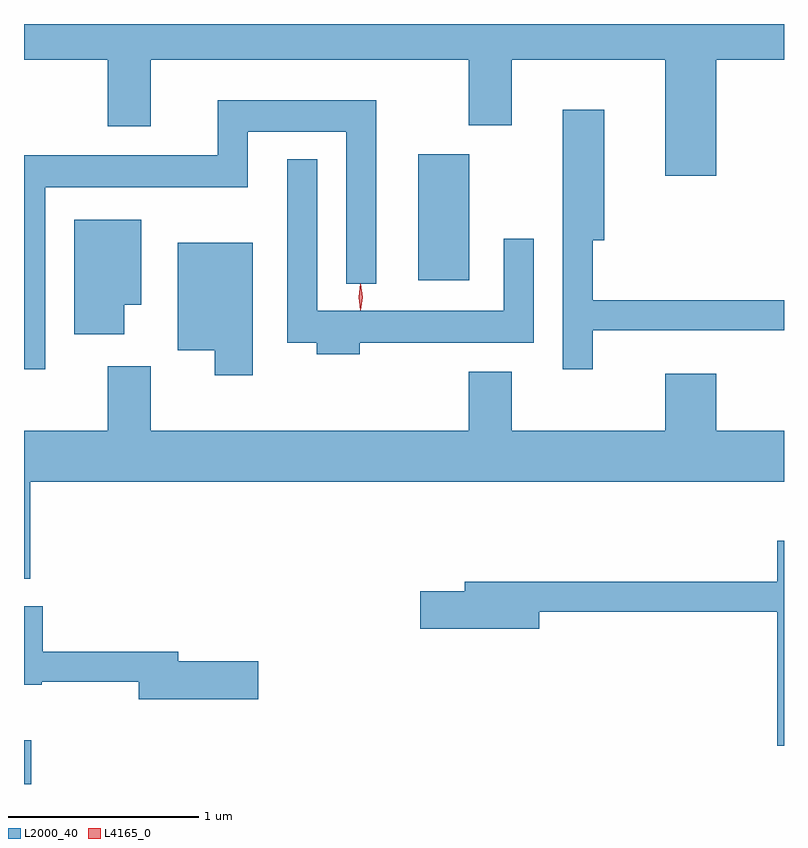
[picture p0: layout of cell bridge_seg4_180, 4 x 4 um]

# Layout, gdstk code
import gdstk
lib = gdstk.Library(unit=1e-6, precision=1e-09)
def R(c, l, rs):  # rectangles x0, y0, x1, y1
    for r in rs: c.add(gdstk.rectangle(r[:2], r[2:], *l))
def P(c, l, *ps):  # polygons
    for p in ps: c.add(gdstk.Polygon(p, *l))
L2000_40 = (2000, 40)
L4165_0 = (4165, 0)

bridge_seg4_180 = lib.new_cell('bridge_seg4_180')
R(bridge_seg4_180, L2000_40, [(1050.861,1302.024,1050.899,1302.253), (1052.936,1304.676,1053.204,1305.339)])
P(bridge_seg4_180, L2000_40, [(1054.504,1305.836),(1054.861,1305.836),(1054.861,1306.024),(1050.861,1306.024),(1050.861,1305.836),(1051.301,1305.836),(1051.301,1305.486),(1051.529,1305.486),(1051.529,1305.836),(1053.201,1305.836),(1053.201,1305.491),(1053.429,1305.491),(1053.429,1305.836),(1054.236,1305.836),(1054.236,1305.226),(1054.504,1305.226)],
  [(1050.974,1305.166),(1052.039,1305.166),(1052.039,1305.456),(1052.556,1305.456),(1052.556,1304.658),(1052.714,1304.658),(1052.714,1305.624),(1051.881,1305.624),(1051.881,1305.334),(1050.861,1305.334),(1050.861,1304.208),(1050.974,1304.208)],
  [(1053.854,1304.411),(1054.861,1304.411),(1054.861,1304.569),(1053.854,1304.569),(1053.854,1304.886),(1053.914,1304.886),(1053.914,1305.574),(1053.696,1305.574),(1053.696,1304.208),(1053.854,1304.208)],
  [(1052.629,1304.346),(1053.544,1304.346),(1053.544,1304.893),(1053.386,1304.893),(1053.386,1304.514),(1052.404,1304.514),(1052.404,1305.313),(1052.246,1305.313),(1052.246,1304.346),(1052.401,1304.346),(1052.401,1304.286),(1052.629,1304.286)],
  [(1051.389,1304.546),(1051.479,1304.546),(1051.479,1304.994),(1051.126,1304.994),(1051.126,1304.391),(1051.389,1304.391)],
  [(1052.064,1304.874),(1051.671,1304.874),(1051.671,1304.306),(1051.866,1304.306),(1051.866,1304.176),(1052.064,1304.176)],
  [(1050.894,1303.616),(1054.861,1303.616),(1054.861,1303.884),(1054.504,1303.884),(1054.504,1304.184),(1054.236,1304.184),(1054.236,1303.884),(1053.429,1303.884),(1053.429,1304.194),(1053.201,1304.194),(1053.201,1303.884),(1051.529,1303.884),(1051.529,1304.224),(1051.301,1304.224),(1051.301,1303.884),(1050.861,1303.884),(1050.861,1303.103),(1050.894,1303.103)],
  [(1054.861,1303.304),(1054.826,1303.304),(1054.826,1303.089),(1053.181,1303.089),(1053.181,1303.039),(1052.946,1303.039),(1052.946,1302.841),(1053.574,1302.841),(1053.574,1302.931),(1054.826,1302.931),(1054.826,1302.226),(1054.861,1302.226)],
  [(1052.094,1302.669),(1051.674,1302.669),(1051.674,1302.719),(1050.959,1302.719),(1050.959,1302.959),(1050.861,1302.959),(1050.861,1302.546),(1050.955,1302.546),(1050.955,1302.561),(1051.466,1302.561),(1051.466,1302.471),(1052.094,1302.471)])
P(bridge_seg4_180, L4165_0, [(1052.632,1304.52),(1052.623,1304.586),(1052.632,1304.653),(1052.633,1304.653),(1052.633,1304.653),(1052.643,1304.586),(1052.633,1304.52),(1052.633,1304.52)],
  [(1052.632,1304.517),(1052.623,1304.587),(1052.632,1304.656),(1052.633,1304.656),(1052.633,1304.656),(1052.643,1304.587),(1052.633,1304.517),(1052.633,1304.517)])

lib.write_gds('bridge_seg4_180.gds')
